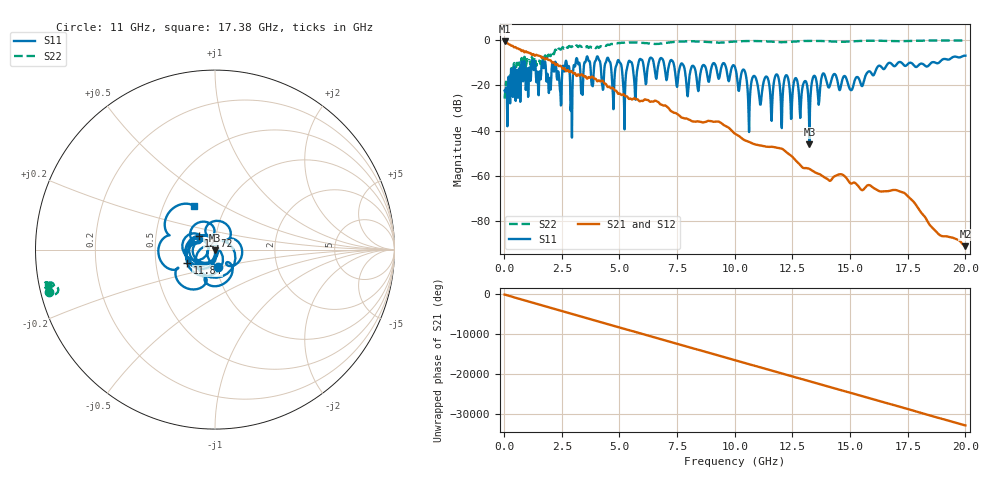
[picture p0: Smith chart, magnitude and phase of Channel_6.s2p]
! Created Sun Jun 24 21:04:19 2012
# hz S ma R 100
! 2 Port Network Data from SP1.SP block
! freq  magS11  angS11  magS21  angS21  magS12  angS12  magS22  angS22
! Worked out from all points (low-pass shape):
!   1000 points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, 20 MHz to 20 GHz, reference 100 ohm
!   highest |S21| = -0.54 dB at 20 MHz (marker M1); lowest = -91.2 dB at 20 GHz (marker M2)
!   |S21| within 3 dB of the highest: start of sweep to 539 MHz
!   lowest |S11| = -46.1 dB at 13.24 GHz (marker M3), VSWR 1.01, Z = 100 - j0.987 ohm
!   |S11| at or under -10 dB: start of sweep to 753.4 MHz; 7.339 GHz to 17.08 GHz (9.74 GHz wide, 79.8 % of centre); 17.64 GHz to 18.52 GHz (887.6 MHz wide, 4.91 % of centre)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
!   |S22| runs from -25.9 to -0.1 dB; largest |S21 - S12| = 0.0002
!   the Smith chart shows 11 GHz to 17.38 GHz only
!   S11 on the Smith chart (normalised r, x): 11 GHz: 1.02, -0.19; 11.84 GHz: 0.72, -0.11; 12.72 GHz: 0.82, +0.13; 17.38 GHz: 0.71, +0.37
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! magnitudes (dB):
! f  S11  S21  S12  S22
! 20 MHz  -22.3  -0.5  -0.5  -25.9
! 1.28 GHz  -13.2  -6.2  -6.3  -11.7
! 3.36 GHz  -21.3  -15.1  -15.1  -3.0
! 3.6 GHz  -7.2  -17.0  -17.0  -2.7
! 4.52 GHz  -8.2  -20.7  -20.7  -2.0
! 4.74 GHz  -30.6  -21.4  -21.4  -1.6
! 5 GHz  -9.7  -23.6  -23.6  -1.3
! 5.22 GHz  -39.5  -24.4  -24.4  -1.1
! 5.44 GHz  -9.2  -26.0  -26.0  -1.0
! 6.68 GHz  -11.2  -27.3  -27.3  -1.7
! 10.02 GHz  -12.3  -41.4  -41.4  -0.6
! 11 GHz  -20.3  -46.4  -46.4  -0.4
! 11.6 GHz  -35.7  -47.2  -47.2  -0.7
! 11.84 GHz  -15.3  -47.6  -47.6  -0.9
! 12.02 GHz  -36.5  -47.9  -48.0  -0.9
! 12.22 GHz  -15.6  -49.4  -49.4  -0.8
! 12.72 GHz  -18.6  -54.0  -54.0  -0.5
! 13.24 GHz  -46.1  -57.0  -57.0  -0.3
! 13.34 GHz  -18.9  -57.6  -57.6  -0.3
! 16.68 GHz  -10.1  -66.8  -66.8  -0.4
! 17.38 GHz  -11.4  -67.8  -67.8  -0.4
! 20 GHz  -6.9  -91.2  -91.2  -0.2
